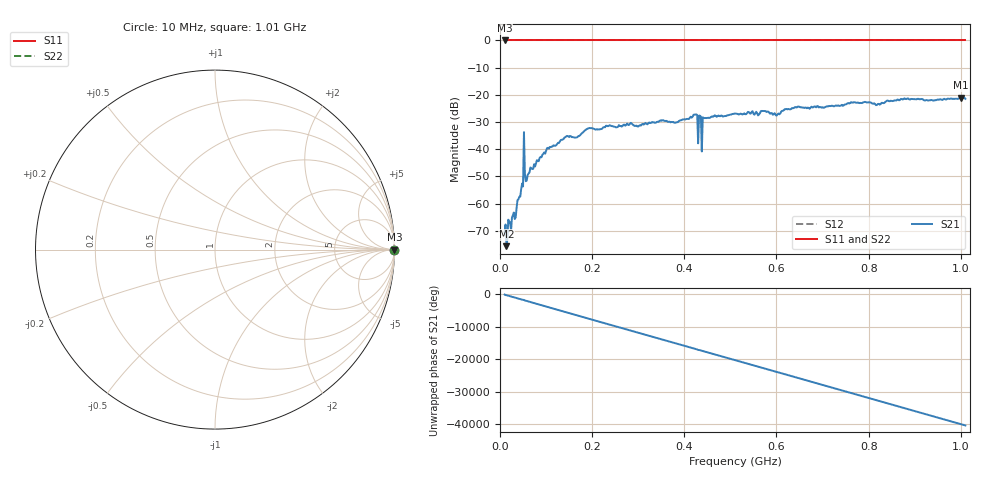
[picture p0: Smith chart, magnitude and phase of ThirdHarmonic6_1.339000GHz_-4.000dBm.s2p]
! 8/16/2025 3:00:36 PM
! C:\ANRITSUVNA\TEMP\TEMP.S2P
! CHANNEL.1
! TR.MEASUREMENT
! RAW.DATA
! RF.CORRECTION.OFF
! AVERAGING.OFF
! IF.BANDWIDTH: 5KHZ
! SWEEPTYPE:  FREQ.SWEEP(Linear)
! Reference Plane Port Info
! PORT:  PORT1  PORT2
! DISTANCE:  0  m  0  m
! TIME:  0  s  0  s
! PHASE.OFFSET:  0  deg.  0  deg.
! LOSS:  0  dB  0  dB
! REF.LOSS:  0  dB  0  dB
! REF.FREQ:  0  Hz  0  Hz
! Power Info
! POWER:  -20  dBm  -20  dBm
! EFF.POWER:  -20  dBm  -20  dBm
! SOURCE.ATTEN:  0  dB  0  dB
! TEST.ATTEN:  0  dB  0  dB
# GHZ S RI R 50.0
! FREQ.GHZ  S11RE  S11IM  S21RE  S21IM  S12RE  S12IM  S22RE  S22IM
!; PortSelection: Port_12
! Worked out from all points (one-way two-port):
!   501 points, 10 MHz to 1.01 GHz, reference 50 ohm
!   highest |S21| = -21.00 dB at 1 GHz (marker M1); lowest = -75.7 dB at 14 MHz (marker M2)
!   lowest |S11| = 0.0 dB at 10 MHz (marker M3)
!   |S11| at or under -10 dB: nowhere
!   |S22| runs from 0.0 to 0.0 dB; largest |S21 - S12| = 1.1
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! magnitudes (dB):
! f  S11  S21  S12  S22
! 10 MHz  0.0  -70.9  0.0  0.0
! 14 MHz  0.0  -75.7  0.0  0.0
! 36 MHz  0.0  -61.6  0.0  0.0
! 46 MHz  0.0  -54.6  0.0  0.0
! 50 MHz  0.0  -53.7  0.0  0.0
! 56 MHz  0.0  -51.8  0.0  0.0
! 58 MHz  0.0  -51.6  0.0  0.0
! 60 MHz  0.0  -49.5  0.0  0.0
! 106 MHz  0.0  -39.8  0.0  0.0
! 178 MHz  0.0  -34.1  0.0  0.0
! 344 MHz  0.0  -30.0  0.0  0.0
! 424 MHz  0.0  -27.3  0.0  0.0
! 432 MHz  0.0  -27.6  0.0  0.0
! 434 MHz  0.0  -27.7  0.0  0.0
! 442 MHz  0.0  -28.5  0.0  0.0
! 444 MHz  0.0  -28.6  0.0  0.0
! 510 MHz  0.0  -26.9  0.0  0.0
! 602 MHz  0.0  -27.2  0.0  0.0
! 678 MHz  0.0  -24.7  0.0  0.0
! 844 MHz  0.0  -22.3  0.0  0.0
! 1 GHz  0.0  -21.0  0.0  0.0
! 1.01 GHz  0.0  -21.5  0.0  0.0
